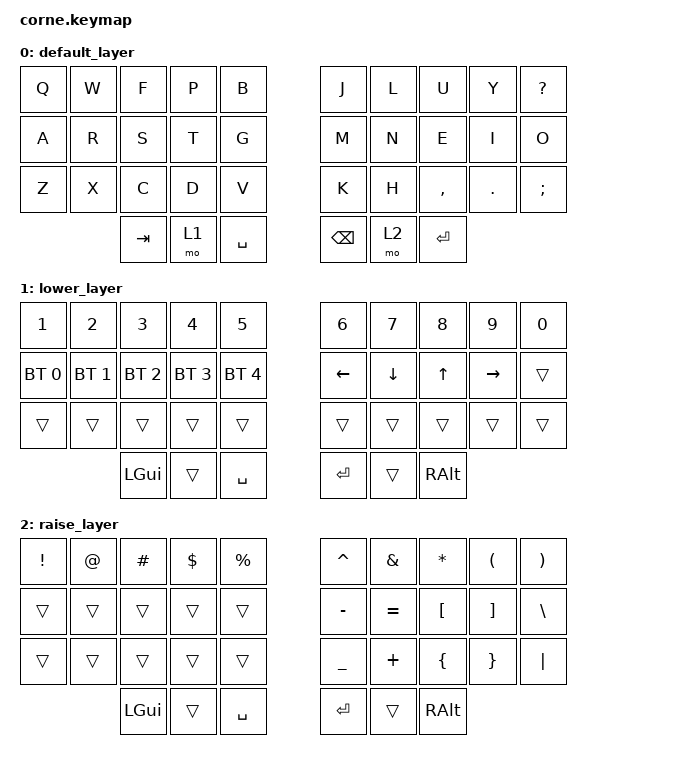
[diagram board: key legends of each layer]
/*
 * Copyright (c) 2020 The ZMK Contributors
 *
 * SPDX-License-Identifier: MIT
 */

#include <behaviors.dtsi>
#include <dt-bindings/zmk/keys.h>
#include <dt-bindings/zmk/bt.h>

/ {
  chosen {
    zmk,matrix_transform = &five_column_transform;
  };
};

/ {
        keymap {
                compatible = "zmk,keymap";

                default_layer {
// -----------------------------------------------------------------------------------------
// |  TAB |  Q  |  W  |  E  |  R  |  T  |   |  Y  |  U   |  I  |  O  |  P  | BKSP |
// | CTRL |  A  |  S  |  D  |  F  |  G  |   |  H  |  J   |  K  |  L  |  ;  |  '   |
// | SHFT |  Z  |  X  |  C  |  V  |  B  |   |  N  |  M   |  ,  |  .  |  /  | ESC  |
//                    | GUI | LWR | SPC |   | ENT | RSE  | ALT |
                        bindings = <
   &kp Q &kp W &kp F &kp P &kp B   &kp J &kp L  &kp U     &kp Y   &kp QMARK
   &kp A &kp R &kp S &kp T &kp G   &kp M &kp N  &kp E     &kp I   &kp O
   &kp Z &kp X &kp C &kp D &kp V   &kp K &kp H  &kp COMMA &kp DOT &kp SEMI
                  &kp TAB &mo 1 &kp SPACE   &kp BKSP &mo 2 &kp RET
                        >;
                };
                lower_layer {
// -----------------------------------------------------------------------------------------
// |  TAB |  1  |  2  |  3  |  4  |  5  |   |  6  |  7  |  8  |  9  |  0  | BKSP |
// | BTCLR| BT1 | BT2 | BT3 | BT4 | BT5 |   | LFT | DWN |  UP | RGT |     |      |
// | SHFT |     |     |     |     |     |   |     |     |     |     |     |      |
//                    | GUI |     | SPC |   | ENT |     | ALT |
                        bindings = <
   &kp N1       &kp N2       &kp N3       &kp N4       &kp N5         &kp N6   &kp N7   &kp N8 &kp N9    &kp N0
   &bt BT_SEL 0 &bt BT_SEL 1 &bt BT_SEL 2 &bt BT_SEL 3 &bt BT_SEL 4   &kp LEFT &kp DOWN &kp UP &kp RIGHT &trans
   &trans       &trans       &trans       &trans       &trans         &trans   &trans   &trans &trans    &trans
                                    &kp LGUI     &trans       &kp SPACE      &kp RET  &trans   &kp RALT
                        >;
                };

                raise_layer {
// -----------------------------------------------------------------------------------------
// |  TAB |  !  |  @  |  #  |  $  |  %  |   |  ^  |  &  |  *  |  (  |  )  | BKSP |
// | CTRL |     |     |     |     |     |   |  -  |  =  |  [  |  ]  |  \  |  `   |
// | SHFT |     |     |     |     |     |   |  _  |  +  |  {  |  }  | "|" |  ~   |
//                    | GUI |     | SPC |   | ENT |     | ALT |
                        bindings = <
   &kp EXCL &kp AT &kp HASH &kp DLLR &kp PRCNT   &kp CARET &kp AMPS  &kp ASTRK &kp LPAR &kp RPAR
   &trans   &trans &trans   &trans   &trans      &kp MINUS &kp EQUAL &kp LBKT  &kp RBKT &kp BSLH
   &trans   &trans &trans   &trans   &trans      &kp UNDER &kp PLUS  &kp LBRC  &kp RBRC &kp PIPE
                             &kp LGUI &trans   &kp SPACE   &kp RET   &trans    &kp RALT
                        >;
                };
        };
};
